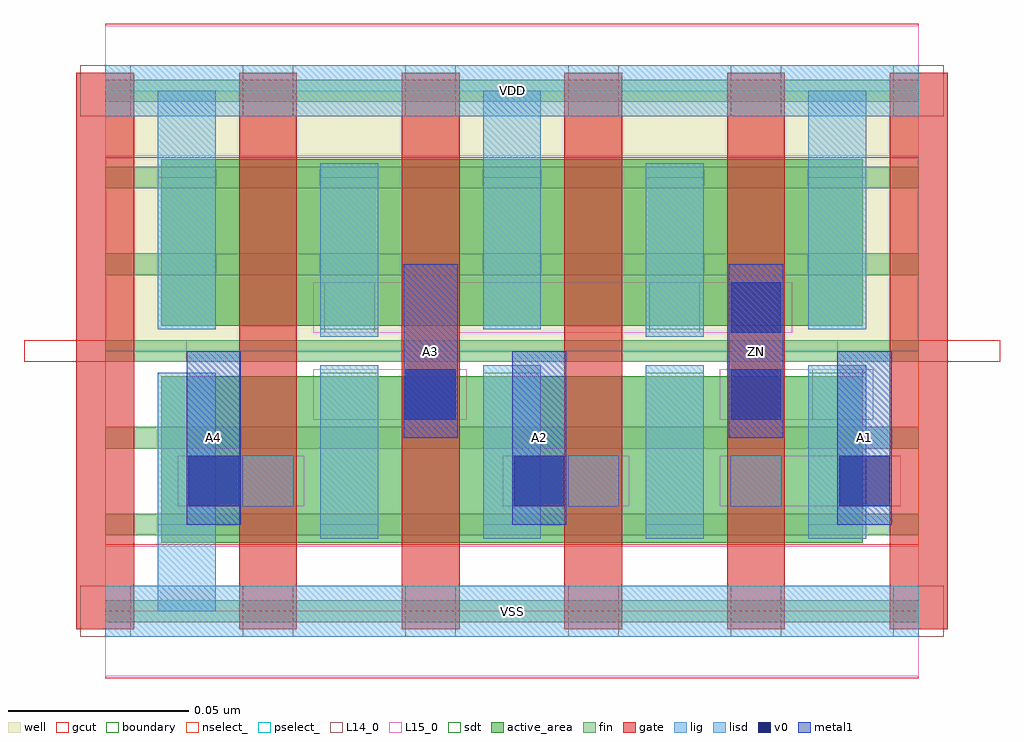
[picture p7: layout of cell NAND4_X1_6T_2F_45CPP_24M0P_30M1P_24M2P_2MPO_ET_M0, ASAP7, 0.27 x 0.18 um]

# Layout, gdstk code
import gdstk
lib = gdstk.Library(unit=1e-6, precision=2.5e-10)
def R(c, l, rs):  # rectangles x0, y0, x1, y1
    for r in rs: c.add(gdstk.rectangle(r[:2], r[2:], *l))
def A(c, l, x, y, w, h, nx, ny, dx, dy):  # array of equal rectangles
    R(c, l, [(x+i*dx, y+j*dy, x+i*dx+w, y+j*dy+h) for i in range(nx) for j in range(ny)])
well = (1, 0)
fin = (2, 0)
gate = (7, 0)
gcut = (10, 0)
active_area = (11, 0)
nselect_ = (12, 0)
pselect_ = (13, 0)
L14_0 = (14, 0)
L15_0 = (15, 0)
lig = (16, 0)
lisd = (17, 0)
v0 = (18, 0)
metal1 = (19, 0)
sdt = (88, 0)
boundary = (100, 0)

nand4_x1_6t_2f_45cpp_24m = lib.new_cell('NAND4_X1_6T_2F_45CPP_24M0P_30M1P_24M2P_2MPO_ET_M0')
R(nand4_x1_6t_2f_45cpp_24m, well, [(0,0.072,0.225,0.144)])
A(nand4_x1_6t_2f_45cpp_24m, fin, 0, -0.003, 0.225, 0.006, 1, 7, 0, 0.024)
A(nand4_x1_6t_2f_45cpp_24m, gate, -0.008, -0.005, 0.016, 0.154, 6, 1, 0.045, 0)
R(nand4_x1_6t_2f_45cpp_24m, gcut, [(0,-0.0185,0.225,0.0185), (-0.0225,0.069,0.0225,0.075), (0.2025,0.069,0.2475,0.075), (0,0.1255,0.225,0.1625)])
A(nand4_x1_6t_2f_45cpp_24m, active_area, 0.0155, 0.019, 0.059, 0.046, 4, 2, 0.045, 0.06)
R(nand4_x1_6t_2f_45cpp_24m, nselect_, [(0,0,0.225,0.072)])
R(nand4_x1_6t_2f_45cpp_24m, pselect_, [(0,0.072,0.225,0.144)])
A(nand4_x1_6t_2f_45cpp_24m, L14_0, -0.007, -0.007, 0.014, 0.014, 6, 2, 0.045, 0.144)
R(nand4_x1_6t_2f_45cpp_24m, L14_0, [(0.038,0.029,0.052,0.043), (0.128,0.029,0.142,0.043), (0.173,0.029,0.187,0.043), (0.083,0.053,0.097,0.067), (0.1955,0.053,0.2095,0.067), (0.0605,0.077,0.0745,0.091), (0.1505,0.077,0.1645,0.091)])
R(nand4_x1_6t_2f_45cpp_24m, L15_0, [(0,-0.018,0.225,0.018), (0.02,0.029,0.055,0.043), (0.11,0.029,0.145,0.043), (0.17,0.029,0.22,0.043), (0.0575,0.053,0.1,0.067), (0.17,0.053,0.2125,0.067), (0.0575,0.077,0.19,0.091), (0,0.126,0.225,0.162)])
R(nand4_x1_6t_2f_45cpp_24m, lig, [(0,-0.007,0.225,0.007), (0.038,0.029,0.052,0.043), (0.128,0.029,0.142,0.043), (0.173,0.029,0.187,0.043), (0.083,0.053,0.097,0.067), (0,0.137,0.225,0.151)])
A(nand4_x1_6t_2f_45cpp_24m, lisd, 0.0595, 0.02, 0.016, 0.048, 4, 1, 0.045, 0)
A(nand4_x1_6t_2f_45cpp_24m, lisd, 0.0145, 0.078, 0.016, 0.066, 3, 1, 0.09, 0)
R(nand4_x1_6t_2f_45cpp_24m, lisd, [(0.0145,0,0.0305,0.066), (0.0595,0.076,0.0755,0.124), (0.1495,0.076,0.1655,0.124)])
A(nand4_x1_6t_2f_45cpp_24m, v0, 0.023, 0.029, 0.014, 0.014, 3, 1, 0.09, 0)
R(nand4_x1_6t_2f_45cpp_24m, v0, [(0.083,0.053,0.097,0.067), (0.173,0.053,0.187,0.067), (0.173,0.077,0.187,0.091)])
A(nand4_x1_6t_2f_45cpp_24m, metal1, 0.0225, 0.024, 0.015, 0.048, 3, 1, 0.09, 0)
R(nand4_x1_6t_2f_45cpp_24m, metal1, [(0.0825,0.048,0.0975,0.096), (0.1725,0.048,0.1875,0.096)])
A(nand4_x1_6t_2f_45cpp_24m, sdt, 0.0145, 0.024, 0.016, 0.042, 5, 2, 0.045, 0.054)
R(nand4_x1_6t_2f_45cpp_24m, boundary, [(0,0,0.225,0.144)])
nand4_x1_6t_2f_45cpp_24m.add(gdstk.Label('ZN', (0.18,0.072), layer=19, texttype=251))
nand4_x1_6t_2f_45cpp_24m.add(gdstk.Label('A1', (0.21,0.048), layer=19, texttype=251))
nand4_x1_6t_2f_45cpp_24m.add(gdstk.Label('A2', (0.12,0.048), layer=19, texttype=251))
nand4_x1_6t_2f_45cpp_24m.add(gdstk.Label('A3', (0.09,0.072), layer=19, texttype=251))
nand4_x1_6t_2f_45cpp_24m.add(gdstk.Label('A4', (0.03,0.048), layer=19, texttype=251))
nand4_x1_6t_2f_45cpp_24m.add(gdstk.Label('VDD', (0.1125,0.144), layer=15, texttype=251))
nand4_x1_6t_2f_45cpp_24m.add(gdstk.Label('VSS', (0.1125,0), layer=15, texttype=251))
nand4_x1_6t_2f_45cpp_24m.add(gdstk.Label('VDD', (0.1125,0.144), layer=1, texttype=251))
nand4_x1_6t_2f_45cpp_24m.add(gdstk.Label('VSS', (0.1125,0), layer=3, texttype=251))

lib.write_gds('NAND4_X1_6T_2F_45CPP_24M0P_30M1P_24M2P_2MPO_ET_M0.gds')
